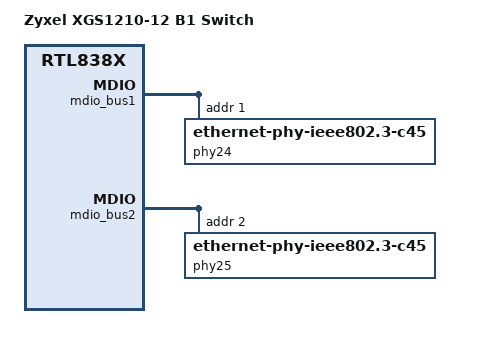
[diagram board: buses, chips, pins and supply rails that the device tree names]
// SPDX-License-Identifier: GPL-2.0-or-later
/dts-v1/;

#include "rtl9302_zyxel_xgs1210-12-common.dtsi"

/ {
	compatible = "zyxel,xgs1210-12-b1", "realtek,rtl838x-soc";
	model = "Zyxel XGS1210-12 B1 Switch";
};

&mdio_bus1 {
	phy24: ethernet-phy@1 {
		reg = <1>;
		compatible = "ethernet-phy-ieee802.3-c45";
	};
};

&mdio_bus2 {
	phy25: ethernet-phy@2 {
		reg = <2>;
		compatible = "ethernet-phy-ieee802.3-c45";
	};
};
